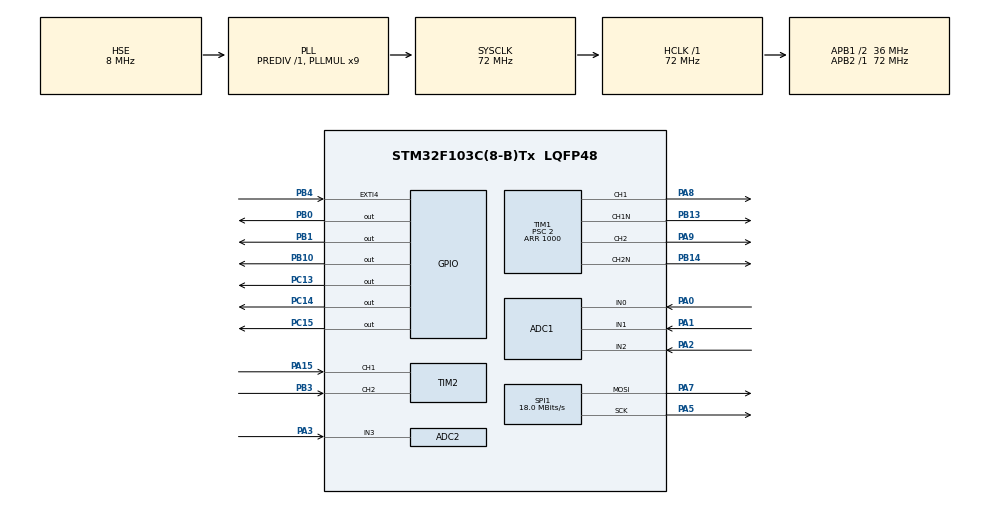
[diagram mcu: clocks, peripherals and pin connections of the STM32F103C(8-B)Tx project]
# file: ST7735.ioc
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ADC1.Channel-0\#ChannelRegularConversion=ADC_CHANNEL_0
ADC1.Channel-1\#ChannelRegularConversion=ADC_CHANNEL_1
ADC1.Channel-2\#ChannelRegularConversion=ADC_CHANNEL_2
ADC1.ContinuousConvMode=ENABLE
ADC1.ExternalTrigConv=ADC_SOFTWARE_START
ADC1.NbrOfConversion=3
ADC1.NbrOfConversionFlag=1
ADC1.Rank-0\#ChannelRegularConversion=1
ADC1.Rank-1\#ChannelRegularConversion=2
ADC1.Rank-2\#ChannelRegularConversion=3
ADC1.SamplingTime-0\#ChannelRegularConversion=ADC_SAMPLETIME_71CYCLES_5
ADC1.SamplingTime-1\#ChannelRegularConversion=ADC_SAMPLETIME_71CYCLES_5
ADC1.SamplingTime-2\#ChannelRegularConversion=ADC_SAMPLETIME_71CYCLES_5
ADC1.master=1
ADC2.Channel-0\#ChannelRegularConversion=ADC_CHANNEL_3
ADC2.ContinuousConvMode=DISABLE
ADC2.NbrOfConversion=1
ADC2.NbrOfConversionFlag=1
ADC2.Rank-0\#ChannelRegularConversion=1
ADC2.SamplingTime-0\#ChannelRegularConversion=ADC_SAMPLETIME_71CYCLES_5
Dma.ADC1.1.Direction=DMA_PERIPH_TO_MEMORY
Dma.ADC1.1.Instance=DMA1_Channel1
Dma.ADC1.1.MemDataAlignment=DMA_MDATAALIGN_HALFWORD
Dma.ADC1.1.MemInc=DMA_MINC_ENABLE
Dma.ADC1.1.Mode=DMA_CIRCULAR
Dma.ADC1.1.PeriphDataAlignment=DMA_PDATAALIGN_HALFWORD
Dma.ADC1.1.PeriphInc=DMA_PINC_DISABLE
Dma.ADC1.1.Priority=DMA_PRIORITY_LOW
Dma.Request0=SPI1_TX
Dma.Request1=ADC1
Dma.SPI1_TX.0.Direction=DMA_MEMORY_TO_PERIPH
Dma.SPI1_TX.0.Instance=DMA1_Channel3
Dma.SPI1_TX.0.MemDataAlignment=DMA_MDATAALIGN_HALFWORD
Dma.SPI1_TX.0.MemInc=DMA_MINC_ENABLE
Dma.SPI1_TX.0.Mode=DMA_NORMAL
Dma.SPI1_TX.0.PeriphDataAlignment=DMA_PDATAALIGN_HALFWORD
Dma.SPI1_TX.0.PeriphInc=DMA_PINC_DISABLE
Dma.SPI1_TX.0.Priority=DMA_PRIORITY_LOW
Mcu.Family=STM32F1
Mcu.Name=STM32F103C(8-B)Tx
Mcu.Package=LQFP48
NVIC.DMA1_Channel1_IRQn=true\:0\:0\:false\:false\:true\:false\:true\:true
NVIC.DMA1_Channel3_IRQn=true\:0\:0\:false\:false\:true\:false\:true\:true
NVIC.EXTI4_IRQn=true\:0\:0\:false\:false\:true\:true\:true\:true
NVIC.PriorityGroup=NVIC_PRIORITYGROUP_4
NVIC.TIM3_IRQn=true\:0\:0\:false\:false\:true\:true\:true\:true
PA0-WKUP.Signal=ADCx_IN0
PA1.Signal=ADCx_IN1
PA13.Mode=Serial_Wire
PA13.Signal=SYS_JTMS-SWDIO
PA14.Mode=Serial_Wire
PA14.Signal=SYS_JTCK-SWCLK
PA15.Signal=S_TIM2_CH1_ETR
PA2.Signal=ADCx_IN2
PA3.Signal=ADCx_IN3
PA5.Mode=TX_Only_Simplex_Unidirect_Master
PA5.Signal=SPI1_SCK
PA7.Mode=TX_Only_Simplex_Unidirect_Master
PA7.Signal=SPI1_MOSI
PA8.Signal=S_TIM1_CH1
PA9.Signal=S_TIM1_CH2
PB0.Signal=GPIO_Output
PB1.Signal=GPIO_Output
PB10.Signal=GPIO_Output
PB13.Mode=PWM Generation1 CH1 CH1N
PB13.Signal=TIM1_CH1N
PB14.Mode=PWM Generation2 CH2 CH2N
PB14.Signal=TIM1_CH2N
PB3.Signal=S_TIM2_CH2
PB4.Signal=GPXTI4
PC13-TAMPER-RTC.Signal=GPIO_Output
PC14-OSC32_IN.Signal=GPIO_Output
PC15-OSC32_OUT.Signal=GPIO_Output
PD0-OSC_IN.Mode=HSE-External-Oscillator
PD0-OSC_IN.Signal=RCC_OSC_IN
PD1-OSC_OUT.Mode=HSE-External-Oscillator
PD1-OSC_OUT.Signal=RCC_OSC_OUT
ProjectManager.HeapSize=0x200
ProjectManager.StackSize=0x400
ProjectManager.TargetToolchain=MDK-ARM V5.32
RCC.ADCPresc=RCC_ADCPCLK2_DIV6
RCC.AHBFreq_Value=72000000
RCC.APB1CLKDivider=RCC_HCLK_DIV2
RCC.APB1Freq_Value=36000000
RCC.APB1TimFreq_Value=72000000
RCC.APB2Freq_Value=72000000
RCC.APB2TimFreq_Value=72000000
RCC.HCLKFreq_Value=72000000
RCC.PLLMUL=RCC_PLL_MUL9
RCC.PLLSourceVirtual=RCC_PLLSOURCE_HSE
RCC.SYSCLKFreq_VALUE=72000000
RCC.SYSCLKSource=RCC_SYSCLKSOURCE_PLLCLK
RCC.USBFreq_Value=72000000
SH.ADCx_IN0.0=ADC1_IN0,IN0
SH.ADCx_IN1.0=ADC1_IN1,IN1
SH.ADCx_IN2.0=ADC1_IN2,IN2
SH.ADCx_IN3.0=ADC2_IN3,IN3
SH.S_TIM1_CH1.0=TIM1_CH1,PWM Generation1 CH1 CH1N
SH.S_TIM1_CH2.0=TIM1_CH2,PWM Generation2 CH2 CH2N
SH.S_TIM2_CH1_ETR.0=TIM2_CH1,Encoder_Interface
SH.S_TIM2_CH2.0=TIM2_CH2,Encoder_Interface
SPI1.BaudRatePrescaler=SPI_BAUDRATEPRESCALER_4
SPI1.CalculateBaudRate=18.0 MBits/s
SPI1.DataSize=SPI_DATASIZE_8BIT
SPI1.Direction=SPI_DIRECTION_2LINES
SPI1.Mode=SPI_MODE_MASTER
SPI1.VirtualType=VM_MASTER
TIM1.Channel-PWM\ Generation1\ CH1\ CH1N=TIM_CHANNEL_1
TIM1.Channel-PWM\ Generation2\ CH2\ CH2N=TIM_CHANNEL_2
TIM1.Channel-PWM\ Generation3\ No\ Output=TIM_CHANNEL_3
TIM1.DeadTime=50
TIM1.OCMode_PWM-PWM\ Generation3\ No\ Output=TIM_OCMODE_PWM2
TIM1.OCNPolarity_2=TIM_OCNPOLARITY_LOW
TIM1.OCPolarity_2=TIM_OCPOLARITY_LOW
TIM1.Period=1000
TIM1.Prescaler=2
TIM1.Pulse-PWM\ Generation3\ No\ Output=10
TIM1.TIM_MasterOutputTrigger=TIM_TRGO_OC3REF
TIM2.EncoderMode=TIM_ENCODERMODE_TI12
TIM3.Period=1000
TIM3.Prescaler=71
VP_TIM1_VS_ClockSourceINT.Mode=Internal
VP_TIM1_VS_no_output3.Mode=PWM Generation3 No Output
VP_TIM3_VS_ClockSourceINT.Mode=Internal
board=custom

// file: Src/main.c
/* USER CODE BEGIN Header */
/**
  ******************************************************************************
  * @file           : main.c
  * @brief          : Main program body
  ******************************************************************************
  * @attention
  *
  * <h2><center>&copy; Copyright (c) 2020 STMicroelectronics.
  * All rights reserved.</center></h2>
  *
  * This software component is licensed by ST under BSD 3-Clause license,
  * the "License"; You may not use this file except in compliance with the
  * License. You may obtain a copy of the License at:
  *                        opensource.org/licenses/BSD-3-Clause
  *
  ******************************************************************************
  */
/* USER CODE END Header */
#include "main.h"

/* USER CODE BEGIN Includes */
#include <string.h>
#include "ST7735_SPI.h"
#include "fonts.h"
#include <stdio.h>
#include <math.h>
#include "UI.h"
/* USER CODE END Includes */

ADC_HandleTypeDef hadc1;
ADC_HandleTypeDef hadc2;
DMA_HandleTypeDef hdma_adc1;

SPI_HandleTypeDef hspi1;
DMA_HandleTypeDef hdma_spi1_tx;

TIM_HandleTypeDef htim1;
TIM_HandleTypeDef htim2;
TIM_HandleTypeDef htim3;

void SystemClock_Config(void);
static void MX_GPIO_Init(void);
static void MX_DMA_Init(void);
static void MX_SPI1_Init(void);
static void MX_ADC1_Init(void);
static void MX_ADC2_Init(void);
static void MX_TIM1_Init(void);
static void MX_TIM2_Init(void);
static void MX_TIM3_Init(void);

/* USER CODE BEGIN 0 */
#define ADC_MAX             4095.0f
#define VREF                3.3f

#define VIN_DIV_GAIN        11.0f
#define VOUT_DIV_GAIN       11.0f

#define NTC_R_PULLUP        10000.0f
#define NTC_R0              10000.0f
#define NTC_BETA            3950.0f
#define NTC_T0_K            298.15f

#define SET_V_MIN           2.0f
#define SET_V_MAX           36.0f
#define SET_V_STEP          0.1f

#define ENC_COUNT_PER_STEP  4

#define POWERSTAGE_DUTY_MIN       0.1f
#define POWERSTAGE_DUTY_MAX       0.9f
#define POWERSTAGE_RATIO_MIN    0.1f
#define POWERSTAGE_RATIO_MAX    0.9f

#define CURRENT_MAX 	10.0f		// AMPE
#define TEMP_MAX 			80.0f   //*C
#define VSET_MIN            1.0f
#define VSET_MAX            30.0f
#define VSET_STEP           0.1f

#define ISET_MIN            0.1f
#define ISET_MAX            10.0f
#define ISET_STEP           0.1f

#define CTRL_TS              0.001f

#define VIN_MIN_PROTECT      2.0f
#define TEMP_MAX_PROTECT     80.0f

#define RATIO_MIN            POWERSTAGE_DUTY_MIN
#define RATIO_MAX            POWERSTAGE_DUTY_MAX

#define CV_KP                0.015f
#define CV_KI                0.8f

#define CC_KP                0.025f
#define CC_KI                1.2f

#define CV_I_MIN            -0.30f
#define CV_I_MAX             0.30f

#define CC_I_MIN            -0.30f
#define CC_I_MAX             0.30f

#define SOFTSTART_RATE_VS    8.0f
#define I_HARD_MARGIN        1.0f

static float cv_i = 0.0f;
static float cc_i = 0.0f;

static float vref_soft = 0.0f;
static float ratio_out = 0.5f;
typedef enum
{
    PS_MODE_CV = 0,
    PS_MODE_CC,
    PS_MODE_CVCC
} PowerMode_t;

typedef enum
{
    UI_FIELD_VSET = 0,
    UI_FIELD_ISET,
    UI_FIELD_MODE,
    UI_FIELD_OUT,
    UI_FIELD_COUNT
} UI_Field_t;

typedef struct
{
    float kp;
    float ki;

    float integral;

    float out_min;
    float out_max;

    float output;
} PI_Controller_t;

PI_Controller_t cv_pi =
{
    .kp = CV_KP,
    .ki = CV_KI,

    .integral = 0.0f,

    .out_min = POWERSTAGE_RATIO_MIN,
    .out_max = POWERSTAGE_RATIO_MAX,

    .output = 0.5f       // b?t d?u t?i Vin = Vout
};
BBUI_Data_t PowerStage =
{
    .vin = 0.0f,
    .vout = 0.0f,
    .current = 0.0f,
    .temp = 0.0f,

    .vset = 12.0f,
    .iset = 2.0f,

    .enable = 0,
    .state = BBUI_STATE_OFF,

    .batt_cells = 3,
    .active_preset = 0,
    .mqtt_enable = 0,

    .preset =
    {
        {12.0f, 5.0f},
        {16.8f, 3.0f},
        {20.0f, 2.5f}
    }
};

static UI_Field_t ui_field = UI_FIELD_VSET;
static volatile uint8_t ui_full_redraw = 1;
static volatile uint8_t ui_need_update = 1;

static volatile uint16_t adc_current_raw = 0;
static volatile uint8_t adc_current_ready = 0;

static int16_t enc_last = 0;
static int32_t enc_acc = 0;

static uint32_t t_adc = 0;
static uint32_t t_lcd = 0;
static uint8_t PowerStage_pwm_running = 0;
#define ADC1_DMA_LEN 3

static uint16_t adc1_dma_buf[ADC1_DMA_LEN];

static volatile uint8_t adc1_dma_ready = 0;
static void fmt_float(char *buf, float value, uint8_t dec, const char *unit)
{
    int32_t scale = 1;

    for(uint8_t i = 0; i < dec; i++)
        scale *= 10;

    int32_t v = (int32_t)(value * scale + (value >= 0 ? 0.5f : -0.5f));

    if(v < 0)
    {
        v = -v;
        if(dec == 1)
            sprintf(buf, "-%ld.%01ld%s", v / scale, v % scale, unit);
        else
            sprintf(buf, "-%ld.%02ld%s", v / scale, v % scale, unit);
    }
    else
    {
        if(dec == 1)
            sprintf(buf, "%ld.%01ld%s", v / scale, v % scale, unit);
        else
            sprintf(buf, "%ld.%02ld%s", v / scale, v % scale, unit);
    }
}
static uint16_t ADC_Read_Channel(ADC_HandleTypeDef *hadc, uint32_t channel)
{
    ADC_ChannelConfTypeDef sConfig = {0};

    sConfig.Channel = channel;
    sConfig.Rank = ADC_REGULAR_RANK_1;
    sConfig.SamplingTime = ADC_SAMPLETIME_239CYCLES_5;

    HAL_ADC_ConfigChannel(hadc, &sConfig);

    HAL_ADC_Start(hadc);
    HAL_ADC_PollForConversion(hadc, 10);
		uint32_t adc_value = 0;
		adc_value = HAL_ADC_GetValue(hadc);
    HAL_ADC_Stop(hadc);

    return (uint16_t)adc_value;
}

static float ADC_To_Voltage(uint16_t adc)
{
    return ((float)adc * VREF) / ADC_MAX;
}

static float Read_Vout(uint16_t adc_vout)
{
    return ADC_To_Voltage(adc_vout) * VOUT_DIV_GAIN;
}

static float Read_Vin(uint16_t adc_vin)
{
    return ADC_To_Voltage(adc_vin) * VIN_DIV_GAIN;
}

uint16_t raw = 0;
static float Read_NTC_Temp(void)
{
    raw = ADC_Read_Channel(&hadc2, ADC_CHANNEL_3);

    float v = raw * 3.3f / 4095.0f;

    if(v < 0.01f) v = 0.01f;
    if(v > 3.29f) v = 3.29f;

    float r_ntc = 10000.0f * v / (3.3f - v);

    float temp_k = 1.0f /
    (
        (1.0f / 298.15f) +
        (logf(r_ntc / 10000.0f) / 3950.0f)
    );

    return temp_k - 273.15f;
}
#define CURRENT_GAIN        22.0f // 1.884
#define SHUNT_R             0.01f
uint16_t adc_offset = 0;
static float Read_Current(uint16_t adc_current)
{
    float v_adc = (adc_current - adc_offset) * 3.3f / 4095.0f;
    float current = (v_adc) / CURRENT_GAIN / SHUNT_R + 0.32f                     ;
    if(current < 0.0f)
        current = 0.0f;
    return current;
}
static float Read_Current_linear(uint16_t adc)
{
    float current = 0.00720f * adc - 2.1007f;

    if(current < 0.0f)
        current = 0.0f;

    return current;
}
#define ADC1_DMA_LEN        3
#define ADC_AVG_SAMPLES     36
// 14.57
static uint16_t adc1_dma_buf[ADC1_DMA_LEN];

static uint32_t adc_sum[ADC1_DMA_LEN] = {0};
static uint16_t adc_avg[ADC1_DMA_LEN] = {0};
static uint16_t adc_sample_cnt = 0;
int adc_calib_offset = 0;
void HAL_ADC_ConvCpltCallback(ADC_HandleTypeDef *hadc)
{
    if(hadc->Instance == ADC1)
    {
        for(uint8_t i = 0; i < ADC1_DMA_LEN; i++)
        {
            adc_sum[i] += adc1_dma_buf[i];
        }

        adc_sample_cnt++;

        if(adc_sample_cnt >= ADC_AVG_SAMPLES)
        {
            for(uint8_t i = 0; i < ADC1_DMA_LEN; i++)
            {
                adc_avg[i] = adc_sum[i] / ADC_AVG_SAMPLES;
                adc_sum[i] = 0;
            }

            adc_sample_cnt = 0;
            adc1_dma_ready = 1;
						adc_calib_offset = 1;
        }

    }
}

void HAL_GPIO_EXTI_Callback(uint16_t GPIO_Pin)
{
    static uint32_t last_press = 0;

//    if(GPIO_Pin == GPIO_PIN_4)
//    {

//        BBUI_ButtonIRQ();
//    }
}
static void PowerStage_Start(void)
{
    if(PowerStage_pwm_running)
        return;

    HAL_TIM_PWM_Start(&htim1, TIM_CHANNEL_1);
    HAL_TIMEx_PWMN_Start(&htim1, TIM_CHANNEL_1);
		HAL_TIM_PWM_Start(&htim1, TIM_CHANNEL_2);
    HAL_TIMEx_PWMN_Start(&htim1, TIM_CHANNEL_2);
    PowerStage_pwm_running = 1;
}

static void PowerStage_Stop(void)
{
    if(!PowerStage_pwm_running)
        return;
		TIM1 -> CCR1 = 0;
		TIM2 -> CCR2 = 0;
    HAL_TIM_PWM_Stop(&htim1, TIM_CHANNEL_1);
    HAL_TIMEx_PWMN_Stop(&htim1, TIM_CHANNEL_1);
		HAL_TIM_PWM_Stop(&htim1, TIM_CHANNEL_2);
    HAL_TIMEx_PWMN_Stop(&htim1, TIM_CHANNEL_2);
    PowerStage_pwm_running = 0;
}
uint16_t duty_buck = 0, duty_boost = 0;
static void PowerStage_SetRatio(float ratio)
{
    if(ratio < POWERSTAGE_DUTY_MIN)
        ratio = POWERSTAGE_DUTY_MIN;

    if(ratio > POWERSTAGE_DUTY_MAX)
        ratio = POWERSTAGE_DUTY_MAX;

    uint32_t ccr = (uint32_t)(ratio * (float)(999));
		duty_buck = ccr;
		duty_boost = 999 - ccr;
		TIM1 -> CCR1 = duty_buck;
		TIM1 -> CCR2 = duty_boost;
//    __HAL_TIM_SET_COMPARE(&htim1, TIM_CHANNEL_1, duty_buck);
//		__HAL_TIM_SET_COMPARE(&htim1, TIM_CHANNEL_2, duty_boost);
}
float duty = 0;
static void PowerStage_Control_OpenLoop(void)
{
    if(!PowerStage.enable)
    {
				PowerStage_SetRatio(0);
        PowerStage_Stop();
        return;
    }

    if(PowerStage.vin < 2.0f)
    {
        PowerStage_Stop();
        PowerStage.enable = 0;
        return;
    }

    if(PowerStage.current > 3.0f || PowerStage.temp > 80.0f)
    {
        PowerStage_Stop();
        PowerStage.enable = 0;
        return;
    }
		PowerStage_Start();
    duty = PowerStage.vset / PowerStage.vin;

    PowerStage_SetRatio(PowerStage.vset / 10.0f);
}
static void PowerStage_Control_CloseLoop(void)
{
    if(!PowerStage.enable)
    {
        cv_pi.integral = 0.0f;
        cv_pi.output = 0.5f;

        PowerStage_SetRatio(0.5f);
        PowerStage_Stop();
        return;
    }

    if(PowerStage.vin < 2.0f)
    {
        PowerStage_Stop();
        PowerStage.enable = 0;
        return;
    }

    if(PowerStage.current > CURRENT_MAX || PowerStage.temp > TEMP_MAX)
    {
        PowerStage_Stop();
        PowerStage.enable = 0;
        return;
    }

    PowerStage_Start();

    //---------------------------------------
    // Voltage PI
    //---------------------------------------

    float error = PowerStage.vset - PowerStage.vout;

    cv_pi.integral += cv_pi.ki * error * CTRL_TS;

    float output = cv_pi.kp * error + cv_pi.integral;

    //---------------------------------------
    // Anti-windup
    //---------------------------------------

    if(output > cv_pi.out_max)
    {
        output = cv_pi.out_max;

        if(error > 0)
            cv_pi.integral -= cv_pi.ki * error * CTRL_TS;
    }

    if(output < cv_pi.out_min)
    {
        output = cv_pi.out_min;

        if(error < 0)
            cv_pi.integral -= cv_pi.ki * error * CTRL_TS;
    }

    cv_pi.output = output;

    PowerStage_SetRatio(output);
}

static float clampf(float x, float min, float max)
{
    if(x < min) return min;
    if(x > max) return max;
    return x;
}
static float PowerStage_FeedForward_Ratio(float vin, float vref)
{
    if(vin < 0.5f)
        return 0.5f;

    if(vref < 0.5f)
        return RATIO_MIN;

    float ratio = vref / (vin + vref);

    return clampf(ratio, RATIO_MIN, RATIO_MAX);
}
static void PowerStage_SoftStart_1kHz(void)
{
    if(PowerStage.enable == 0)
    {
        vref_soft = 0.0f;
        return;
    }

    if(vref_soft < PowerStage.vset)
    {
        vref_soft += SOFTSTART_RATE_VS * CTRL_TS;

        if(vref_soft > PowerStage.vset)
            vref_soft = PowerStage.vset;
    }
    else
    {
        vref_soft = PowerStage.vset;
    }
}
static void PowerStage_CVCC_Reset(void)
{
    cv_i = 0.0f;
    cc_i = 0.0f;

    vref_soft = 0.0f;
    ratio_out = 0.5f;
}
void PowerStage_CloseLoop_CVCC_1kHz(void)
{
    if(PowerStage.enable == 0)
    {
        PowerStage_CVCC_Reset();

        PowerStage.state = BBUI_STATE_OFF;

        PowerStage_Stop();

        return;
    }
		PowerStage_Start();
    if(PowerStage.vin < VIN_MIN_PROTECT)
    {
        PowerStage_CVCC_Reset();

        PowerStage.enable = 0;
        PowerStage.state = BBUI_STATE_FAULT;

        PowerStage_Stop();

        return;
    }

    if(PowerStage.temp > TEMP_MAX_PROTECT)
    {
        PowerStage_CVCC_Reset();

        PowerStage.enable = 0;
        PowerStage.state = BBUI_STATE_FAULT;

        PowerStage_Stop();

        return;
    }

    if(PowerStage.current > PowerStage.iset + I_HARD_MARGIN)
    {
        PowerStage_CVCC_Reset();

        PowerStage.enable = 0;
        PowerStage.state = BBUI_STATE_FAULT;

        PowerStage_Stop();

        return;
    }

    PowerStage_SoftStart_1kHz();

    float ratio_ff = PowerStage_FeedForward_Ratio(PowerStage.vin, vref_soft);

    float err_v = vref_soft - PowerStage.vout;
    float err_i = PowerStage.iset - PowerStage.current;

    float cv_i_new = cv_i + CV_KI * err_v * CTRL_TS;
    float cc_i_new = cc_i + CC_KI * err_i * CTRL_TS;

    cv_i_new = clampf(cv_i_new, CV_I_MIN, CV_I_MAX);
    cc_i_new = clampf(cc_i_new, CC_I_MIN, CC_I_MAX);

    float ratio_cv_unsat = ratio_ff + CV_KP * err_v + cv_i_new;
    float ratio_cc_unsat = ratio_ff + CC_KP * err_i + cc_i_new;

    float ratio_cv = clampf(ratio_cv_unsat, RATIO_MIN, RATIO_MAX);
    float ratio_cc = clampf(ratio_cc_unsat, RATIO_MIN, RATIO_MAX);

    if(!((ratio_cv_unsat > RATIO_MAX && err_v > 0.0f) ||
         (ratio_cv_unsat < RATIO_MIN && err_v < 0.0f)))
    {
        cv_i = cv_i_new;
    }

    if(!((ratio_cc_unsat > RATIO_MAX && err_i > 0.0f) ||
         (ratio_cc_unsat < RATIO_MIN && err_i < 0.0f)))
    {
        cc_i = cc_i_new;
    }

    ratio_cv = clampf(ratio_ff + CV_KP * err_v + cv_i, RATIO_MIN, RATIO_MAX);
    ratio_cc = clampf(ratio_ff + CC_KP * err_i + cc_i, RATIO_MIN, RATIO_MAX);

    if(ratio_cc < ratio_cv)
    {
        ratio_out = ratio_cc;
        PowerStage.state = BBUI_STATE_CC;
    }
    else
    {
        ratio_out = ratio_cv;
        PowerStage.state = BBUI_STATE_CV;
    }

    ratio_out = clampf(ratio_out, RATIO_MIN, RATIO_MAX);
    PowerStage_SetRatio(ratio_out);
}
void Buck_UI_Init(void)
{
    HAL_ADCEx_Calibration_Start(&hadc1);
    HAL_ADCEx_Calibration_Start(&hadc2);

    PowerStage_Stop();

    HAL_ADC_Start_DMA(&hadc1, (uint32_t*)adc1_dma_buf, ADC1_DMA_LEN);
		HAL_Delay(700);

    BBUI_Init(&PowerStage, &htim2);

    HAL_TIM_Base_Start_IT(&htim3);
		while(!adc_calib_offset);
    adc_offset = adc_avg[2];
}
uint32_t lastTime_readTemp = 0;
void handle_temp(){
		if(HAL_GetTick() -  lastTime_readTemp > 2000)
		{
			lastTime_readTemp = HAL_GetTick();
			float temp_new = Read_NTC_Temp() + 32.4f;
			PowerStage.temp = PowerStage.temp * 0.5f + temp_new * 0.5f;
			if(PowerStage.temp >= 40.0f)
			{
				HAL_GPIO_WritePin(GPIOC, GPIO_PIN_15, 1);
			}
			else if(PowerStage.temp < 38.0f)
			{
				HAL_GPIO_WritePin(GPIOC, GPIO_PIN_15, 0);
			}
		}

}
void HAL_TIM_PeriodElapsedCallback(TIM_HandleTypeDef *htim)
{
  /* Prevent unused argument(s) compilation warning */
  UNUSED(htim);
	float vin_new = Read_Vin(adc_avg[1]);
	float vout_new = Read_Vout(adc_avg[0]);
	float current_new = Read_Current(adc_avg[2]);
	PowerStage.vin = PowerStage.vin * 0.9f + vin_new * 0.1f;
	PowerStage.vout = PowerStage.vout * 0.9f + vout_new * 0.1f;
  PowerStage.current = PowerStage.current * 0.9f + current_new * 0.1f;
	if(PowerStage.enable == 0)
	{
			PowerStage.state = BBUI_STATE_OFF;
			PowerStage_Stop();
			return;
	}

	if(PowerStage.enable == 0)
	{
			PowerStage.state = BBUI_STATE_FAULT;
			PowerStage.enable = 0;
			PowerStage_Stop();
			return;
	}
	PowerStage_CloseLoop_CVCC_1kHz();
	if(PowerStage.current >= PowerStage.iset - 0.05f)
	{
			PowerStage.state = BBUI_STATE_CC;
	}
	else
	{
			PowerStage.state = BBUI_STATE_CV;
	}

//	if(PowerStage.enable == 0)
//	{
//			PowerStage_Stop();
//			return;
//	}

//	if(PowerStage.mode == BBUI_MODE_CV)
//	{
//			// CV control
//		PowerStage_Control_CloseLoop();
//	}
//	else if(PowerStage.mode == BBUI_MODE_CC)
//	{
//			// CC control
//	}
//	else if(PowerStage.mode == BBUI_MODE_CVCC)
//	{
//			// CV/CC control
//	}
//	BuckBoost_CV_Control_1kHz();

//	PowerStage_Control_OpenLoop();
  /* NOTE : This function should not be modified, when the callback is needed,
            the HAL_TIM_PeriodElapsedCallback could be implemented in the user file
   */
}
/* USER CODE END 0 */

int main(void)
{

  /* MCU Configuration--------------------------------------------------------*/

  /* Reset of all peripherals, Initializes the Flash interface and the Systick. */
  HAL_Init();

  /* Configure the system clock */
  SystemClock_Config();

  /* Initialize all configured peripherals */
  MX_GPIO_Init();
  MX_DMA_Init();
  MX_SPI1_Init();
  MX_ADC1_Init();
  MX_ADC2_Init();
  MX_TIM1_Init();
  MX_TIM2_Init();
  MX_TIM3_Init();
  /* USER CODE BEGIN 2 */
	Buck_UI_Init();
  /* USER CODE END 2 */

  /* Infinite loop */
  while (1)
  {

    /* USER CODE BEGIN 3 */
		BBUI_Task();
		handle_temp();
  }
  /* USER CODE END 3 */
}

void SystemClock_Config(void)
{
  RCC_OscInitTypeDef RCC_OscInitStruct = {0};
  RCC_ClkInitTypeDef RCC_ClkInitStruct = {0};
  RCC_PeriphCLKInitTypeDef PeriphClkInit = {0};

  /** Initializes the RCC Oscillators according to the specified parameters
  * in the RCC_OscInitTypeDef structure.
  */
  RCC_OscInitStruct.OscillatorType = RCC_OSCILLATORTYPE_HSE;
  RCC_OscInitStruct.HSEState = RCC_HSE_ON;
  RCC_OscInitStruct.HSEPredivValue = RCC_HSE_PREDIV_DIV1;
  RCC_OscInitStruct.HSIState = RCC_HSI_ON;
  RCC_OscInitStruct.PLL.PLLState = RCC_PLL_ON;
  RCC_OscInitStruct.PLL.PLLSource = RCC_PLLSOURCE_HSE;
  RCC_OscInitStruct.PLL.PLLMUL = RCC_PLL_MUL9;
  if (HAL_RCC_OscConfig(&RCC_OscInitStruct) != HAL_OK)
  {
    Error_Handler();
  }

  /** Initializes the CPU, AHB and APB buses clocks
  */
  RCC_ClkInitStruct.ClockType = RCC_CLOCKTYPE_HCLK|RCC_CLOCKTYPE_SYSCLK
                              |RCC_CLOCKTYPE_PCLK1|RCC_CLOCKTYPE_PCLK2;
  RCC_ClkInitStruct.SYSCLKSource = RCC_SYSCLKSOURCE_PLLCLK;
  RCC_ClkInitStruct.AHBCLKDivider = RCC_SYSCLK_DIV1;
  RCC_ClkInitStruct.APB1CLKDivider = RCC_HCLK_DIV2;
  RCC_ClkInitStruct.APB2CLKDivider = RCC_HCLK_DIV1;

  if (HAL_RCC_ClockConfig(&RCC_ClkInitStruct, FLASH_LATENCY_2) != HAL_OK)
  {
    Error_Handler();
  }
  PeriphClkInit.PeriphClockSelection = RCC_PERIPHCLK_ADC;
  PeriphClkInit.AdcClockSelection = RCC_ADCPCLK2_DIV6;
  if (HAL_RCCEx_PeriphCLKConfig(&PeriphClkInit) != HAL_OK)
  {
    Error_Handler();
  }
}

static void MX_ADC1_Init(void)
{

  ADC_ChannelConfTypeDef sConfig = {0};

  /** Common config
  */
  hadc1.Instance = ADC1;
  hadc1.Init.ScanConvMode = ADC_SCAN_ENABLE;
  hadc1.Init.ContinuousConvMode = ENABLE;
  hadc1.Init.DiscontinuousConvMode = DISABLE;
  hadc1.Init.ExternalTrigConv = ADC_SOFTWARE_START;
  hadc1.Init.DataAlign = ADC_DATAALIGN_RIGHT;
  hadc1.Init.NbrOfConversion = 3;
  if (HAL_ADC_Init(&hadc1) != HAL_OK)
  {
    Error_Handler();
  }

  /** Configure Regular Channel
  */
  sConfig.Channel = ADC_CHANNEL_0;
  sConfig.Rank = ADC_REGULAR_RANK_1;
  sConfig.SamplingTime = ADC_SAMPLETIME_71CYCLES_5;
  if (HAL_ADC_ConfigChannel(&hadc1, &sConfig) != HAL_OK)
  {
    Error_Handler();
  }

  /** Configure Regular Channel
  */
  sConfig.Channel = ADC_CHANNEL_1;
  sConfig.Rank = ADC_REGULAR_RANK_2;
  if (HAL_ADC_ConfigChannel(&hadc1, &sConfig) != HAL_OK)
  {
    Error_Handler();
  }

  /** Configure Regular Channel
  */
  sConfig.Channel = ADC_CHANNEL_2;
  sConfig.Rank = ADC_REGULAR_RANK_3;
  if (HAL_ADC_ConfigChannel(&hadc1, &sConfig) != HAL_OK)
  {
    Error_Handler();
  }

}

static void MX_ADC2_Init(void)
{

  ADC_ChannelConfTypeDef sConfig = {0};

  /** Common config
  */
  hadc2.Instance = ADC2;
  hadc2.Init.ScanConvMode = ADC_SCAN_DISABLE;
  hadc2.Init.ContinuousConvMode = DISABLE;
  hadc2.Init.DiscontinuousConvMode = DISABLE;
  hadc2.Init.ExternalTrigConv = ADC_SOFTWARE_START;
  hadc2.Init.DataAlign = ADC_DATAALIGN_RIGHT;
  hadc2.Init.NbrOfConversion = 1;
  if (HAL_ADC_Init(&hadc2) != HAL_OK)
  {
    Error_Handler();
  }

  /** Configure Regular Channel
  */
  sConfig.Channel = ADC_CHANNEL_3;
  sConfig.Rank = ADC_REGULAR_RANK_1;
  sConfig.SamplingTime = ADC_SAMPLETIME_71CYCLES_5;
  if (HAL_ADC_ConfigChannel(&hadc2, &sConfig) != HAL_OK)
  {
    Error_Handler();
  }

}

static void MX_SPI1_Init(void)
{

  /* SPI1 parameter configuration*/
  hspi1.Instance = SPI1;
  hspi1.Init.Mode = SPI_MODE_MASTER;
  hspi1.Init.Direction = SPI_DIRECTION_2LINES;
  hspi1.Init.DataSize = SPI_DATASIZE_8BIT;
  hspi1.Init.CLKPolarity = SPI_POLARITY_LOW;
  hspi1.Init.CLKPhase = SPI_PHASE_1EDGE;
  hspi1.Init.NSS = SPI_NSS_SOFT;
  hspi1.Init.BaudRatePrescaler = SPI_BAUDRATEPRESCALER_4;
  hspi1.Init.FirstBit = SPI_FIRSTBIT_MSB;
  hspi1.Init.TIMode = SPI_TIMODE_DISABLE;
  hspi1.Init.CRCCalculation = SPI_CRCCALCULATION_DISABLE;
  hspi1.Init.CRCPolynomial = 10;
  if (HAL_SPI_Init(&hspi1) != HAL_OK)
  {
    Error_Handler();
  }

}

static void MX_TIM1_Init(void)
{

  TIM_ClockConfigTypeDef sClockSourceConfig = {0};
  TIM_MasterConfigTypeDef sMasterConfig = {0};
  TIM_OC_InitTypeDef sConfigOC = {0};
  TIM_BreakDeadTimeConfigTypeDef sBreakDeadTimeConfig = {0};

  htim1.Instance = TIM1;
  htim1.Init.Prescaler = 2;
  htim1.Init.CounterMode = TIM_COUNTERMODE_UP;
  htim1.Init.Period = 1000;
  htim1.Init.ClockDivision = TIM_CLOCKDIVISION_DIV1;
  htim1.Init.RepetitionCounter = 0;
  htim1.Init.AutoReloadPreload = TIM_AUTORELOAD_PRELOAD_DISABLE;
  if (HAL_TIM_Base_Init(&htim1) != HAL_OK)
  {
    Error_Handler();
  }
  sClockSourceConfig.ClockSource = TIM_CLOCKSOURCE_INTERNAL;
  if (HAL_TIM_ConfigClockSource(&htim1, &sClockSourceConfig) != HAL_OK)
  {
    Error_Handler();
  }
  if (HAL_TIM_PWM_Init(&htim1) != HAL_OK)
  {
    Error_Handler();
  }
  sMasterConfig.MasterOutputTrigger = TIM_TRGO_OC3REF;
  sMasterConfig.MasterSlaveMode = TIM_MASTERSLAVEMODE_DISABLE;
  if (HAL_TIMEx_MasterConfigSynchronization(&htim1, &sMasterConfig) != HAL_OK)
  {
    Error_Handler();
  }
  sConfigOC.OCMode = TIM_OCMODE_PWM1;
  sConfigOC.Pulse = 0;
  sConfigOC.OCPolarity = TIM_OCPOLARITY_HIGH;
  sConfigOC.OCNPolarity = TIM_OCNPOLARITY_HIGH;
  sConfigOC.OCFastMode = TIM_OCFAST_DISABLE;
  sConfigOC.OCIdleState = TIM_OCIDLESTATE_RESET;
  sConfigOC.OCNIdleState = TIM_OCNIDLESTATE_RESET;
  if (HAL_TIM_PWM_ConfigChannel(&htim1, &sConfigOC, TIM_CHANNEL_1) != HAL_OK)
  {
    Error_Handler();
  }
  sConfigOC.OCPolarity = TIM_OCPOLARITY_LOW;
  sConfigOC.OCNPolarity = TIM_OCNPOLARITY_LOW;
  if (HAL_TIM_PWM_ConfigChannel(&htim1, &sConfigOC, TIM_CHANNEL_2) != HAL_OK)
  {
    Error_Handler();
  }
  sConfigOC.OCMode = TIM_OCMODE_PWM2;
  sConfigOC.Pulse = 10;
  sConfigOC.OCPolarity = TIM_OCPOLARITY_HIGH;
  sConfigOC.OCNPolarity = TIM_OCNPOLARITY_HIGH;
  if (HAL_TIM_PWM_ConfigChannel(&htim1, &sConfigOC, TIM_CHANNEL_3) != HAL_OK)
  {
    Error_Handler();
  }
  sBreakDeadTimeConfig.OffStateRunMode = TIM_OSSR_DISABLE;
  sBreakDeadTimeConfig.OffStateIDLEMode = TIM_OSSI_DISABLE;
  sBreakDeadTimeConfig.LockLevel = TIM_LOCKLEVEL_OFF;
  sBreakDeadTimeConfig.DeadTime = 25;
  sBreakDeadTimeConfig.BreakState = TIM_BREAK_DISABLE;
  sBreakDeadTimeConfig.BreakPolarity = TIM_BREAKPOLARITY_HIGH;
  sBreakDeadTimeConfig.AutomaticOutput = TIM_AUTOMATICOUTPUT_DISABLE;
  if (HAL_TIMEx_ConfigBreakDeadTime(&htim1, &sBreakDeadTimeConfig) != HAL_OK)
  {
    Error_Handler();
  }
  HAL_TIM_MspPostInit(&htim1);

}

static void MX_TIM2_Init(void)
{

  TIM_Encoder_InitTypeDef sConfig = {0};
  TIM_MasterConfigTypeDef sMasterConfig = {0};

  htim2.Instance = TIM2;
  htim2.Init.Prescaler = 0;
  htim2.Init.CounterMode = TIM_COUNTERMODE_UP;
  htim2.Init.Period = 65535;
  htim2.Init.ClockDivision = TIM_CLOCKDIVISION_DIV1;
  htim2.Init.AutoReloadPreload = TIM_AUTORELOAD_PRELOAD_DISABLE;
  sConfig.EncoderMode = TIM_ENCODERMODE_TI12;
  sConfig.IC1Polarity = TIM_ICPOLARITY_RISING;
  sConfig.IC1Selection = TIM_ICSELECTION_DIRECTTI;
  sConfig.IC1Prescaler = TIM_ICPSC_DIV1;
  sConfig.IC1Filter = 0;
  sConfig.IC2Polarity = TIM_ICPOLARITY_RISING;
  sConfig.IC2Selection = TIM_ICSELECTION_DIRECTTI;
  sConfig.IC2Prescaler = TIM_ICPSC_DIV1;
  sConfig.IC2Filter = 0;
  if (HAL_TIM_Encoder_Init(&htim2, &sConfig) != HAL_OK)
  {
    Error_Handler();
  }
  sMasterConfig.MasterOutputTrigger = TIM_TRGO_RESET;
  sMasterConfig.MasterSlaveMode = TIM_MASTERSLAVEMODE_DISABLE;
  if (HAL_TIMEx_MasterConfigSynchronization(&htim2, &sMasterConfig) != HAL_OK)
  {
    Error_Handler();
  }

}

static void MX_TIM3_Init(void)
{

  TIM_ClockConfigTypeDef sClockSourceConfig = {0};
  TIM_MasterConfigTypeDef sMasterConfig = {0};

  htim3.Instance = TIM3;
  htim3.Init.Prescaler = 71;
  htim3.Init.CounterMode = TIM_COUNTERMODE_UP;
  htim3.Init.Period = 1000;
  htim3.Init.ClockDivision = TIM_CLOCKDIVISION_DIV1;
  htim3.Init.AutoReloadPreload = TIM_AUTORELOAD_PRELOAD_DISABLE;
  if (HAL_TIM_Base_Init(&htim3) != HAL_OK)
  {
    Error_Handler();
  }
  sClockSourceConfig.ClockSource = TIM_CLOCKSOURCE_INTERNAL;
  if (HAL_TIM_ConfigClockSource(&htim3, &sClockSourceConfig) != HAL_OK)
  {
    Error_Handler();
  }
  sMasterConfig.MasterOutputTrigger = TIM_TRGO_RESET;
  sMasterConfig.MasterSlaveMode = TIM_MASTERSLAVEMODE_DISABLE;
  if (HAL_TIMEx_MasterConfigSynchronization(&htim3, &sMasterConfig) != HAL_OK)
  {
    Error_Handler();
  }

}

static void MX_DMA_Init(void)
{

  /* DMA controller clock enable */
  __HAL_RCC_DMA1_CLK_ENABLE();

  /* DMA interrupt init */
  /* DMA1_Channel1_IRQn interrupt configuration */
  HAL_NVIC_SetPriority(DMA1_Channel1_IRQn, 0, 0);
  HAL_NVIC_EnableIRQ(DMA1_Channel1_IRQn);
  /* DMA1_Channel3_IRQn interrupt configuration */
  HAL_NVIC_SetPriority(DMA1_Channel3_IRQn, 0, 0);
  HAL_NVIC_EnableIRQ(DMA1_Channel3_IRQn);

}

static void MX_GPIO_Init(void)
{
  GPIO_InitTypeDef GPIO_InitStruct = {0};

  /* GPIO Ports Clock Enable */
  __HAL_RCC_GPIOC_CLK_ENABLE();
  __HAL_RCC_GPIOD_CLK_ENABLE();
  __HAL_RCC_GPIOA_CLK_ENABLE();
  __HAL_RCC_GPIOB_CLK_ENABLE();

  /*Configure GPIO pin Output Level */
  HAL_GPIO_WritePin(GPIOC, GPIO_PIN_13|GPIO_PIN_14|GPIO_PIN_15, GPIO_PIN_RESET);

  /*Configure GPIO pin Output Level */
  HAL_GPIO_WritePin(GPIOB, GPIO_PIN_0|GPIO_PIN_1|GPIO_PIN_10, GPIO_PIN_RESET);

  /*Configure GPIO pins : PC13 PC14 PC15 */
  GPIO_InitStruct.Pin = GPIO_PIN_13|GPIO_PIN_14|GPIO_PIN_15;
  GPIO_InitStruct.Mode = GPIO_MODE_OUTPUT_PP;
  GPIO_InitStruct.Pull = GPIO_NOPULL;
  GPIO_InitStruct.Speed = GPIO_SPEED_FREQ_LOW;
  HAL_GPIO_Init(GPIOC, &GPIO_InitStruct);

  /*Configure GPIO pins : PB0 PB1 PB10 */
  GPIO_InitStruct.Pin = GPIO_PIN_0|GPIO_PIN_1|GPIO_PIN_10;
  GPIO_InitStruct.Mode = GPIO_MODE_OUTPUT_PP;
  GPIO_InitStruct.Pull = GPIO_NOPULL;
  GPIO_InitStruct.Speed = GPIO_SPEED_FREQ_LOW;
  HAL_GPIO_Init(GPIOB, &GPIO_InitStruct);

  /*Configure GPIO pin : PB4 */
  GPIO_InitStruct.Pin = GPIO_PIN_4;
  GPIO_InitStruct.Mode = GPIO_MODE_IT_RISING;
  GPIO_InitStruct.Pull = GPIO_NOPULL;
  HAL_GPIO_Init(GPIOB, &GPIO_InitStruct);

  /* EXTI interrupt init*/
  HAL_NVIC_SetPriority(EXTI4_IRQn, 0, 0);
  HAL_NVIC_EnableIRQ(EXTI4_IRQn);

}

void Error_Handler(void)
{
}
